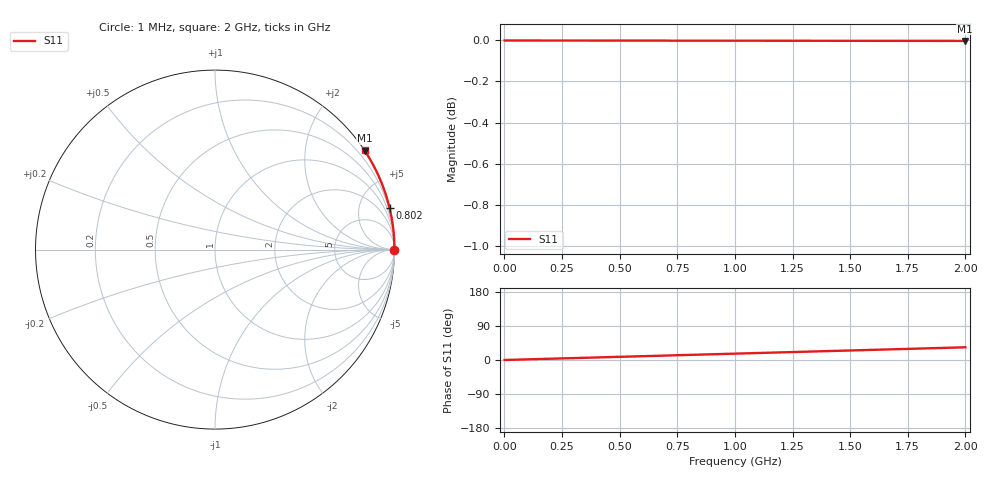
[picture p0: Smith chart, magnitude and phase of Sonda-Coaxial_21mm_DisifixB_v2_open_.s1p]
! TOUCHSTONE file generated by CST MICROWAVE STUDIO
! Date and time: Sun Aug  2 21:13:22 2026
! Project name: Sonda-Coaxial_21mm_DisifixB_v2_open.cst
! Parameters = {h_recipiente=5; l_conector=5; r_arandela=35; r_ext=10.5; r_int=3; r_recipiente=100; z_recipiente=-50}
! Header version: 2018
! Port assignment regex: !\s*Touchstone port\s*([0-9]+)\s*=\s*(CST MWS port|CST DS port)\s*([0-9]+|Zmin|Zmax)\s*\(\"(.*)\"\)(\s*mode\s*([0-9]+))?.*
! Touchstone port assignment:
! Touchstone port 1 = CST MWS port 1 ("")
# GHz S RI R 50
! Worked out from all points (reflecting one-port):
!   2000 points, 1 MHz to 2 GHz, reference 50 ohm
!   lowest |S11| = 0.0 dB at 1.997 GHz (marker M1)
!   phase of S11 starts at 0 deg and turns +34 deg over the sweep
!   S11 on the Smith chart (normalised r, x): 1 MHz: open; 802 MHz: 0.01, +8.50; 2 GHz: 0.00, +3.32
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0.001  0.9999 0.000293
0.006  0.9999 0.00176
0.011  0.9999 0.00322
0.07  0.9997 0.0205
0.13  0.9992 0.038
0.251  0.9972 0.0733
0.313  0.9957 0.0913
0.376  0.9938 0.1096
0.439  0.9916 0.1279
0.501  0.9891 0.1458
0.563  0.9863 0.1637
0.626  0.9831 0.1818
0.688  0.9797 0.1996
0.751  0.9758 0.2175
0.802  0.9725 0.2321
0.901  0.9653 0.2601
1.001  0.9573 0.2882
1.126  0.9461 0.323
1.251  0.9337 0.3574
1.375  0.9201 0.391
1.501  0.905 0.4247
1.625  0.889 0.4573
1.751  0.8714 0.4898
1.829  0.86 0.5096
1.906  0.8482 0.5289
1.99  0.8349 0.5497
1.997  0.8338 0.5514
2  0.8333 0.5522
